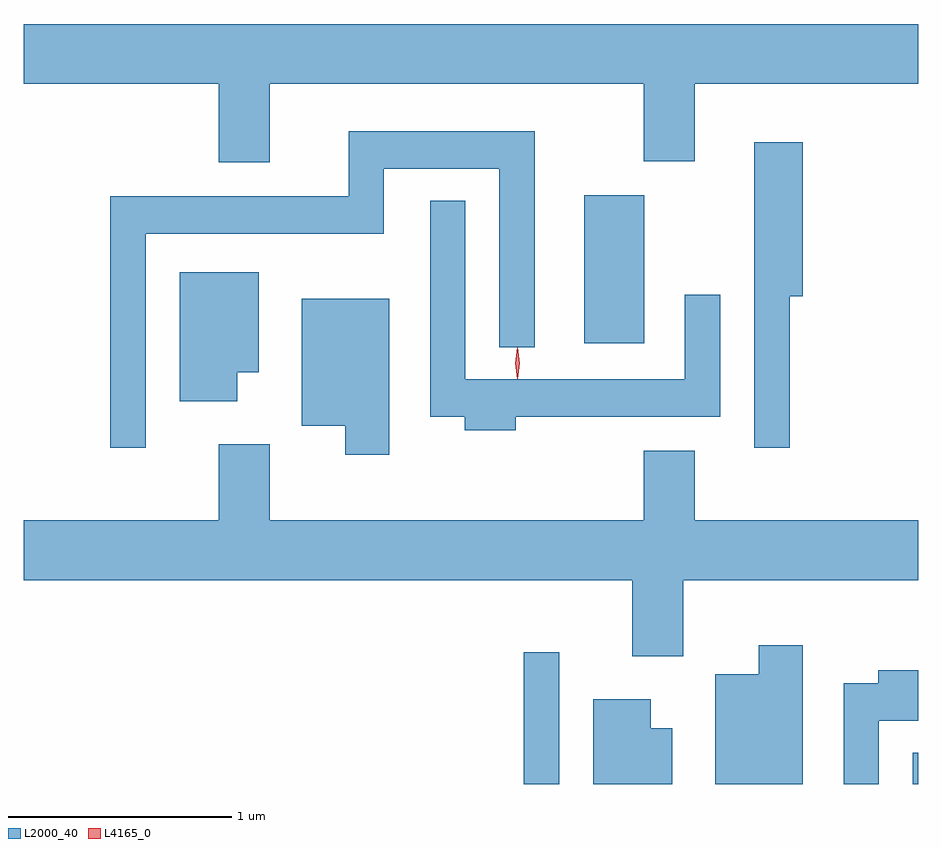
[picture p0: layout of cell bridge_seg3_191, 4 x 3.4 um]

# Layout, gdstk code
import gdstk
lib = gdstk.Library(unit=1e-6, precision=1e-09)
def R(c, l, rs):  # rectangles x0, y0, x1, y1
    for r in rs: c.add(gdstk.rectangle(r[:2], r[2:], *l))
def P(c, l, *ps):  # polygons
    for p in ps: c.add(gdstk.Polygon(p, *l))
L2000_40 = (2000, 40)
L4165_0 = (4165, 0)

bridge_seg3_191 = lib.new_cell('bridge_seg3_191')
R(bridge_seg3_191, L2000_40, [(910.956,1182.824,911.114,1183.413), (912.696,1182.824,912.719,1182.963), (911.226,1184.796,911.494,1185.459)])
P(bridge_seg3_191, L2000_40, [(909.819,1185.956),(911.491,1185.956),(911.491,1185.611),(911.719,1185.611),(911.719,1185.956),(912.719,1185.956),(912.719,1186.224),(908.719,1186.224),(908.719,1185.956),(909.591,1185.956),(909.591,1185.606),(909.819,1185.606)],
  [(909.264,1185.286),(910.329,1185.286),(910.329,1185.576),(910.846,1185.576),(910.846,1184.778),(911.004,1184.778),(911.004,1185.744),(910.171,1185.744),(910.171,1185.454),(909.106,1185.454),(909.106,1184.328),(909.264,1184.328)],
  [(912.144,1185.006),(912.204,1185.006),(912.204,1185.694),(911.986,1185.694),(911.986,1184.328),(912.144,1184.328)],
  [(910.919,1184.466),(911.834,1184.466),(911.834,1185.013),(911.676,1185.013),(911.676,1184.634),(910.694,1184.634),(910.694,1185.433),(910.536,1185.433),(910.536,1184.466),(910.691,1184.466),(910.691,1184.406),(910.919,1184.406)],
  [(909.674,1184.666),(909.769,1184.666),(909.769,1185.114),(909.416,1185.114),(909.416,1184.536),(909.674,1184.536)],
  [(910.354,1184.994),(909.961,1184.994),(909.961,1184.426),(910.156,1184.426),(910.156,1184.296),(910.354,1184.296)],
  [(911.669,1183.736),(912.719,1183.736),(912.719,1184.004),(911.719,1184.004),(911.719,1184.314),(911.491,1184.314),(911.491,1184.004),(909.819,1184.004),(909.819,1184.344),(909.591,1184.344),(909.591,1184.004),(908.719,1184.004),(908.719,1183.736),(911.441,1183.736),(911.441,1183.396),(911.669,1183.396)],
  [(912.204,1183.444),(912.006,1183.444),(912.006,1183.314),(911.811,1183.314),(911.811,1182.824),(912.204,1182.824)],
  [(912.544,1183.106),(912.719,1183.106),(912.719,1183.334),(912.541,1183.334),(912.541,1183.274),(912.386,1183.274),(912.386,1182.824),(912.544,1182.824)],
  [(911.619,1183.074),(911.524,1183.074),(911.524,1183.204),(911.266,1183.204),(911.266,1182.824),(911.619,1182.824)])
P(bridge_seg3_191, L4165_0, [(910.927,1184.637),(910.927,1184.638),(910.917,1184.707),(910.927,1184.776),(910.927,1184.776),(910.928,1184.776),(910.937,1184.707),(910.928,1184.638)])

lib.write_gds('bridge_seg3_191.gds')
